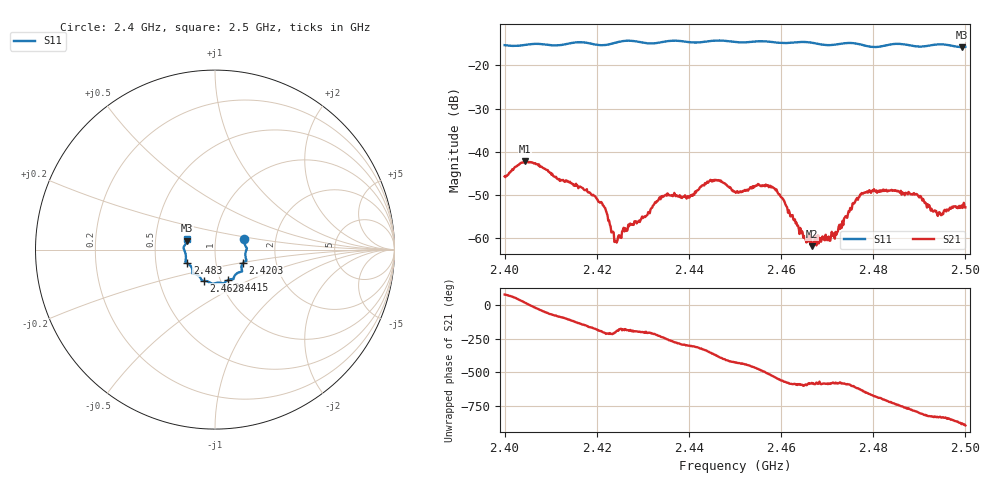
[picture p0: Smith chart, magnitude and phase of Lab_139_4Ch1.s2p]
# Hz S RI R 50
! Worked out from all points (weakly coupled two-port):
!   601 points, 2.4 GHz to 2.5 GHz, reference 50 ohm
!   highest |S21| = -42.22 dB at 2.4045 GHz (marker M1); lowest = -61.9 dB at 2.4667 GHz (marker M2)
!   lowest |S11| = -15.8 dB at 2.4993 GHz (marker M3), VSWR 1.39, Z = 36.4 + j3.67 ohm
!   |S11| at or under -10 dB: start of sweep to end of sweep
!   S12 and S22 are empty: the file has one direction only
!   S11 on the Smith chart (normalised r, x): 2.4 GHz: 1.38, +0.16; 2.4203 GHz: 1.35, -0.21; 2.4415 GHz: 1.09, -0.38; 2.4628 GHz: 0.83, -0.30; 2.483 GHz: 0.73, -0.11; 2.5 GHz: 0.73, +0.09
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2.4e9  0.1623 0.0568  0.00132 0.00502  0 0  0 0
2.4045e9  0.1725 0.0156  0.00752 0.00187  0 0  0 0
2.416667e9  0.1752 -0.0621  -0.00309 -0.00235  0 0  0 0
2.420333e9  0.156 -0.0745  -0.0026 0.000497  0 0  0 0
2.421667e9  0.1495 -0.0853  -0.00203 0.00102  0 0  0 0
2.424333e9  0.1489 -0.1102  -0.000868 0.000183  0 0  0 0
2.433333e9  0.108 -0.1478  -0.0018 0.00208  0 0  0 0
2.4415e9  0.0735 -0.1691  0.00227 0.00248  0 0  0 0
2.446e9  0.0487 -0.1883  0.00447 -0.00136  0 0  0 0
2.45e9  0.0298 -0.1846  0.00152 -0.00312  0 0  0 0
2.458e9  -0.0238 -0.1854  -0.00379 -0.0011  0 0  0 0
2.462833e9  -0.0623 -0.1743  -0.00116 0.00111  0 0  0 0
2.465333e9  -0.0723 -0.1723  -0.00064 0.000723  0 0  0 0
2.466667e9  -0.0752 -0.1675  -0.000647 0.000484  0 0  0 0
2.471833e9  -0.1093 -0.1361  -0.000973 0.000672  0 0  0 0
2.477667e9  -0.1254 -0.1191  0.000138 0.0033  0 0  0 0
2.483e9  -0.1539 -0.0766  0.00343 0.000555  0 0  0 0
2.483333e9  -0.1562 -0.0753  0.00356 0.00031  0 0  0 0
2.489333e9  -0.1619 -0.0379  0.0012 -0.00302  0 0  0 0
2.494333e9  -0.1755 0.00876  -0.000631 -0.0019  0 0  0 0
2.499333e9  -0.1555 0.0491  -0.00205 -0.000903  0 0  0 0
2.5e9  -0.1535 0.0577  -0.00224 -0.000345  0 0  0 0
